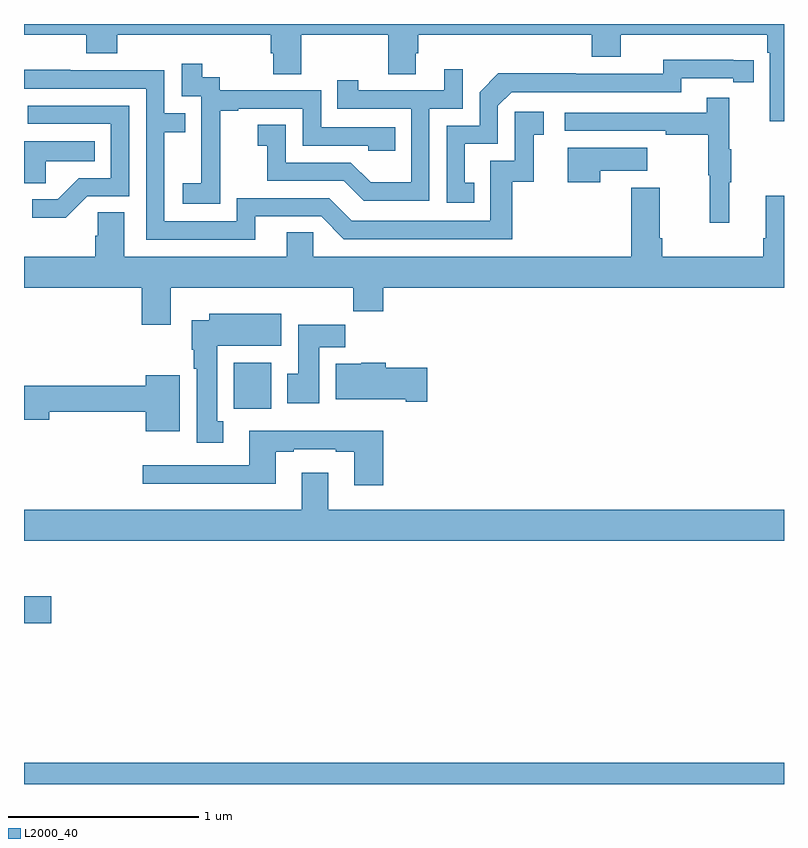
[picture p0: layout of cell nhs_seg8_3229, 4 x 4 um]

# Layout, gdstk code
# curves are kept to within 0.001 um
import gdstk
lib = gdstk.Library(unit=1e-6, precision=1e-09)
def R(c, l, rs):  # rectangles x0, y0, x1, y1
    for r in rs: c.add(gdstk.rectangle(r[:2], r[2:], *l))
def P(c, l, *ps):  # polygons
    for p in ps: c.add(gdstk.Polygon(p, *l))
L2000_40 = (2000, 40)

nhs_seg8_3229 = lib.new_cell('nhs_seg8_3229')
R(nhs_seg8_3229, L2000_40, [(311,1101.9,315,1102.012), (311,1102.745,311.143,1102.887), (312.104,1103.876,312.301,1104.118)])
P(nhs_seg8_3229, L2000_40, [(315,1105.9),(311,1105.9),(311,1105.844),(311.327,1105.844),(311.327,1105.745),(311.492,1105.745),(311.492,1105.844),(312.299,1105.844),(312.299,1105.746),(312.311,1105.746),(312.311,1105.636),(312.459,1105.636),(312.459,1105.844),(312.916,1105.844),(312.916,1105.636),(313.063,1105.636),(313.063,1105.746),(313.076,1105.746),(313.076,1105.844),(313.988,1105.844),(313.988,1105.727),(314.14,1105.727),(314.14,1105.844),(314.912,1105.844),(314.912,1105.748),(314.925,1105.748),(314.925,1105.389),(315,1105.389)],
  [(313.37,1105.065),(313.321,1105.065),(313.321,1105.269),(313.494,1105.269),(313.494,1105.47),(313.566,1105.542),(314.46,1105.542),(314.46,1105.614),(314.732,1105.614),(314.732,1105.594),(314.84,1105.594),(314.84,1105.71),(314.364,1105.711),(314.364,1105.638),(313.904,1105.638),(313.904,1105.64),(313.496,1105.64),(313.398,1105.542),(313.398,1105.365),(313.224,1105.365),(313.224,1104.96),(313.37,1104.96)],
  [(312.033,1105.159),(312.032,1105.159),(312.032,1105.443),(312.127,1105.443),(312.127,1105.455),(312.468,1105.455),(312.468,1105.26),(312.813,1105.26),(312.813,1105.233),(312.953,1105.233),(312.953,1105.356),(312.564,1105.356),(312.564,1105.551),(312.03,1105.551),(312.03,1105.62),(311.938,1105.62),(311.938,1105.69),(311.829,1105.69),(311.829,1105.521),(311.934,1105.521),(311.934,1105.292),(311.933,1105.292),(311.933,1105.063),(311.835,1105.063),(311.835,1104.953),(312.033,1104.953)],
  [(313.134,1105.455),(313.308,1105.455),(313.308,1105.663),(313.211,1105.663),(313.211,1105.551),(312.76,1105.551),(312.76,1105.603),(312.649,1105.603),(312.649,1105.455),(313.038,1105.455),(313.038,1105.066),(312.824,1105.066),(312.72,1105.17),(312.378,1105.17),(312.378,1105.369),(312.231,1105.369),(312.231,1105.259),(312.28,1105.259),(312.28,1105.074),(312.683,1105.074),(312.788,1104.969),(313.134,1104.969)],
  [(312.217,1104.888),(312.564,1104.888),(312.684,1104.768),(313.571,1104.768),(313.571,1105.071),(313.682,1105.071),(313.682,1105.317),(313.735,1105.317),(313.735,1105.438),(313.584,1105.438),(313.584,1105.179),(313.455,1105.179),(313.455,1104.864),(312.726,1104.864),(312.606,1104.984),(312.12,1104.984),(312.12,1104.861),(311.739,1104.861),(311.739,1105.33),(311.849,1105.33),(311.849,1105.431),(311.739,1105.431),(311.739,1105.656),(311.243,1105.656),(311.243,1105.658),(311,1105.658),(311,1105.56),(311.643,1105.56),(311.643,1104.765),(312.217,1104.765)],
  [(314.711,1105.067),(314.722,1105.067),(314.722,1105.241),(314.711,1105.241),(314.711,1105.513),(314.593,1105.513),(314.593,1105.434),(313.845,1105.434),(313.845,1105.338),(314.377,1105.338),(314.377,1105.318),(314.601,1105.318),(314.601,1105.104),(314.608,1105.104),(314.608,1104.855),(314.711,1104.855)],
  [(311.334,1104.993),(311.553,1104.993),(311.553,1105.47),(311.019,1105.47),(311.019,1105.374),(311.457,1105.374),(311.457,1105.089),(311.288,1105.089),(311.177,1104.978),(311.043,1104.978),(311.043,1104.881),(311.221,1104.881)],
  [(311.115,1105.178),(311.372,1105.178),(311.372,1105.282),(311,1105.282),(311,1105.063),(311.115,1105.063)],
  [(314.033,1105.127),(314.281,1105.127),(314.281,1105.249),(313.862,1105.249),(313.862,1105.068),(314.033,1105.068)],
  [(311.773,1104.512),(312.733,1104.512),(312.733,1104.388),(312.89,1104.388),(312.89,1104.512),(315,1104.512),(315,1104.997),(314.903,1104.997),(314.903,1104.772),(314.891,1104.772),(314.891,1104.676),(314.36,1104.676),(314.36,1104.772),(314.347,1104.772),(314.347,1105.039),(314.195,1105.039),(314.195,1104.676),(312.522,1104.676),(312.522,1104.803),(312.383,1104.803),(312.383,1104.676),(311.527,1104.676),(311.527,1104.908),(311.388,1104.908),(311.388,1104.785),(311.375,1104.785),(311.375,1104.676),(311,1104.676),(311,1104.512),(311.621,1104.512),(311.621,1104.318),(311.773,1104.318)],
  [(312.049,1103.81),(312.016,1103.81),(312.016,1104.206),(312.355,1104.206),(312.355,1104.376),(311.975,1104.376),(311.975,1104.34),(311.882,1104.34),(311.882,1104.186),(311.894,1104.186),(311.894,1104.086),(311.909,1104.086),(311.909,1103.697),(312.049,1103.697)],
  [(312.553,1104.2),(312.692,1104.2),(312.692,1104.318),(312.443,1104.318),(312.443,1104.06),(312.386,1104.06),(312.386,1103.904),(312.553,1103.904)],
  [(313.123,1104.09),(312.905,1104.09),(312.905,1104.118),(312.774,1104.118),(312.774,1104.112),(312.641,1104.112),(312.641,1103.924),(313.01,1103.924),(313.01,1103.912),(313.123,1103.912)],
  [(311.821,1104.052),(311.642,1104.052),(311.642,1103.996),(311,1103.996),(311,1103.818),(311.134,1103.818),(311.134,1103.86),(311.642,1103.86),(311.642,1103.756),(311.821,1103.756)],
  [(312.89,1103.758),(312.185,1103.758),(312.185,1103.577),(311.625,1103.577),(311.625,1103.48),(312.325,1103.48),(312.325,1103.649),(312.421,1103.649),(312.421,1103.661),(312.641,1103.661),(312.641,1103.649),(312.737,1103.649),(312.737,1103.472),(312.89,1103.472)],
  [(315,1103.344),(312.601,1103.344),(312.601,1103.539),(312.461,1103.539),(312.461,1103.344),(311,1103.344),(311,1103.18),(315,1103.18)])

lib.write_gds('nhs_seg8_3229.gds')
